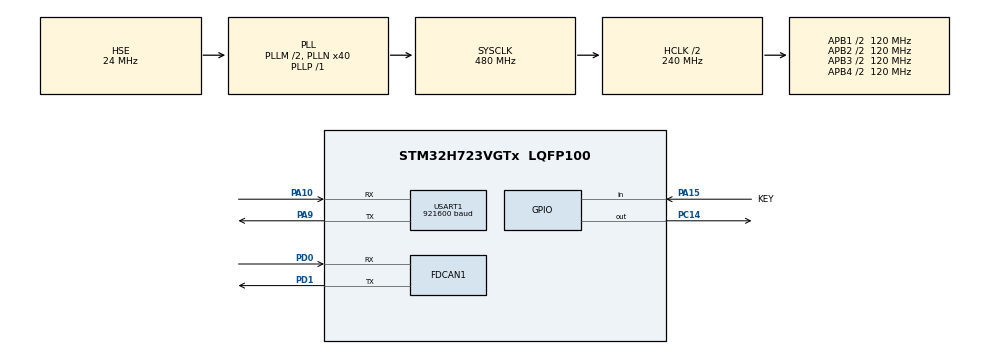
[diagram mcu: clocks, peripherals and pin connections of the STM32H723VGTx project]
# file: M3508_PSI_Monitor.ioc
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CORTEX_M7.CPU_DCache=Disabled
CORTEX_M7.CPU_ICache=Disabled
FDCAN1.AutoRetransmission=ENABLE
FDCAN1.CalculateBaudRateNominal=1000000
FDCAN1.CalculateTimeBitNominal=1000
FDCAN1.CalculateTimeQuantumNominal=12.5
FDCAN1.DataPrescaler=1
FDCAN1.DataSyncJumpWidth=2
FDCAN1.DataTimeSeg1=13
FDCAN1.DataTimeSeg2=2
FDCAN1.ExtFiltersNbr=4
FDCAN1.FrameFormat=FDCAN_FRAME_FD_BRS
FDCAN1.NominalPrescaler=1
FDCAN1.NominalSyncJumpWidth=20
FDCAN1.NominalTimeSeg1=59
FDCAN1.NominalTimeSeg2=20
FDCAN1.ProtocolException=ENABLE
FDCAN1.RxBufferSize=FDCAN_DATA_BYTES_8
FDCAN1.RxBuffersNbr=2
FDCAN1.RxFifo0ElmtSize=FDCAN_DATA_BYTES_8
FDCAN1.RxFifo0ElmtsNbr=10
FDCAN1.RxFifo1ElmtSize=FDCAN_DATA_BYTES_8
FDCAN1.RxFifo1ElmtsNbr=10
FDCAN1.StdFiltersNbr=4
FDCAN1.TxBuffersNbr=10
FDCAN1.TxElmtSize=FDCAN_DATA_BYTES_8
FDCAN1.TxEventsNbr=10
FDCAN1.TxFifoQueueElmtsNbr=10
Mcu.Family=STM32H7
Mcu.Name=STM32H723VGTx
Mcu.Package=LQFP100
NVIC.FDCAN1_IT0_IRQn=true\:0\:0\:false\:false\:true\:true\:true\:true
NVIC.FDCAN1_IT1_IRQn=true\:0\:0\:false\:false\:true\:true\:true\:true
NVIC.FDCAN_CAL_IRQn=true\:0\:0\:false\:false\:true\:true\:true\:true
NVIC.PriorityGroup=NVIC_PRIORITYGROUP_4
NVIC.TIM3_IRQn=true\:0\:0\:false\:false\:true\:true\:true\:true
NVIC.TIM4_IRQn=true\:0\:0\:false\:false\:true\:true\:true\:true
PA10.Mode=Asynchronous
PA10.Signal=USART1_RX
PA13(JTMS/SWDIO).Mode=Serial_Wire
PA13(JTMS/SWDIO).Signal=DEBUG_JTMS-SWDIO
PA14(JTCK/SWCLK).Mode=Serial_Wire
PA14(JTCK/SWCLK).Signal=DEBUG_JTCK-SWCLK
PA15(JTDI).GPIO_Label=KEY
PA15(JTDI).Signal=GPIO_Input
PA9.Mode=Asynchronous
PA9.Signal=USART1_TX
PC14-OSC32_IN.Signal=GPIO_Output
PD0.Mode=FDCAN_Activate
PD0.Signal=FDCAN1_RX
PD1.Mode=FDCAN_Activate
PD1.Signal=FDCAN1_TX
PH0-OSC_IN.Mode=HSE-External-Oscillator
PH0-OSC_IN.Signal=RCC_OSC_IN
PH1-OSC_OUT.Mode=HSE-External-Oscillator
PH1-OSC_OUT.Signal=RCC_OSC_OUT
ProjectManager.HeapSize=0x2000
ProjectManager.StackSize=0x400
ProjectManager.TargetToolchain=MDK-ARM V5.32
RCC.ADCFreq_Value=48375000
RCC.APB1Freq_Value=120000000
RCC.APB2Freq_Value=120000000
RCC.APB3Freq_Value=120000000
RCC.APB4Freq_Value=120000000
RCC.CortexFreq_Value=480000000
RCC.D1PPRE=RCC_APB3_DIV2
RCC.D2PPRE1=RCC_APB1_DIV2
RCC.D2PPRE2=RCC_APB2_DIV2
RCC.D3PPRE=RCC_APB4_DIV2
RCC.DIVM1=2
RCC.DIVN1=40
RCC.DIVP1=1
RCC.DIVQ1=6
RCC.HCLKFreq_Value=240000000
RCC.HPRE=RCC_HCLK_DIV2
RCC.HSE_VALUE=24000000
RCC.PLLFRACN=0
RCC.PLLSourceVirtual=RCC_PLLSOURCE_HSE
RCC.RCC_MCO1Source=RCC_MCO1SOURCE_HSE
RCC.SYSCLKFreq_VALUE=480000000
RCC.SYSCLKSource=RCC_SYSCLKSOURCE_PLLCLK
RCC.USBCLockSelection=RCC_USBCLKSOURCE_HSI48
RCC.USBFreq_Value=48000000
TIM3.Period=1000-1
TIM3.Prescaler=240-1
TIM4.Period=1000-1
TIM4.Prescaler=240-1
USART1.BaudRate=921600
USART1.VirtualMode-Asynchronous=VM_ASYNC
VP_TIM3_VS_ClockSourceINT.Mode=Internal
VP_TIM4_VS_ClockSourceINT.Mode=Internal
board=custom

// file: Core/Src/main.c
/* USER CODE BEGIN Header */
/**
 ******************************************************************************
 * @file           : main.c
 * @brief          : Main program body
 ******************************************************************************
 * @attention
 *
 * Copyright (c) 2024 STMicroelectronics.
 * All rights reserved.
 *
 * This software is licensed under terms that can be found in the LICENSE file
 * in the root directory of this software component.
 * If no LICENSE file comes with this software, it is provided AS-IS.
 *
 ******************************************************************************
 */
/* USER CODE END Header */
#include "main.h"
#include "fdcan.h"
#include "tim.h"
#include "usart.h"
#include "gpio.h"

/* USER CODE BEGIN Includes */
#include "bsp_fdcan.h"
#include "dm_motor_ctrl.h"
#include "keys.h"
#include <math.h> /* sinf */
/* USER CODE END Includes */

/* USER CODE BEGIN PV */
float pos_amp = 0.2f;          /* position command amplitude, rad */
float pos_freq = 1.0f;         /* position command frequency, Hz */
uint16_t crtl_mode = MIT_MODE; /* position control mode */
//uint16_t crtl_mode = POS_MODE;
/* USER CODE END PV */

void SystemClock_Config(void);

/* USER CODE BEGIN 0 */
void HAL_TIM_PeriodElapsedCallback(TIM_HandleTypeDef *htim)
{
    /* USER CODE BEGIN Callback 0 */
    if (htim->Instance == TIM3)
    {
        /* 电机控制状态：1=发送控制帧，0=发送失能帧 */
        static uint8_t ctrl_enable = 1;

        // read_all_motor_data(&motor[Motor1]);

        /* 按键触发切换：Key_Scan 在按下并释放后把 p->key_flag 置 1 */
        if (KEY0_Instance.key_flag == 1)
        {
            KEY0_Instance.key_flag = 0;
            ctrl_enable = !ctrl_enable;

            if (ctrl_enable)
            {
                dm_motor_enable(&hfdcan1, &motor[Motor1]);
            }
            else
            {
                if (crtl_mode == POS_MODE)
                {
                    disable_motor_mode(&hfdcan1, motor[Motor1].id,POS_MODE);
                }
                else
                {
                    disable_motor_mode(&hfdcan1, motor[Motor1].id,MIT_MODE);
                }

            }
        }

        //        if(ctrl_enable)
        //        {
        dm_motor_ctrl_send(&hfdcan1, &motor[Motor1]);
        //        }
    }

    // }
}
/* USER CODE END 0 */

int main(void)
{

    /* MCU Configuration--------------------------------------------------------*/

    /* Reset of all peripherals, Initializes the Flash interface and the Systick. */
    HAL_Init();

    /* Configure the system clock */
    SystemClock_Config();

    /* Initialize all configured peripherals */
    MX_GPIO_Init();
    MX_FDCAN1_Init();
    MX_TIM3_Init();
    MX_USART1_UART_Init();
    MX_TIM4_Init();
    /* USER CODE BEGIN 2 */
    power(1);
    HAL_Delay(1000);

    bsp_fdcan_set_baud(&hfdcan1, CAN_CLASS, CAN_BR_1M);

    bsp_can_init();
    dm_motor_init();
    if (crtl_mode == POS_MODE)
    {
        motor[Motor1].ctrl.mode = pos_mode;
        motor[Motor1].ctrl.vel_set 	= 2.2f;
    }
    else
    {
        motor[Motor1].ctrl.mode = mit_mode;
        motor[Motor1].ctrl.vel_set 	= 0.0f;
    }

    HAL_Delay(100);

    //	write_motor_data(motor[Motor1].id, 10, mit_mode, 0, 0, 0);
    //	HAL_Delay(100);
    //	write_motor_data(motor[Motor1].id, 35, CAN_BR_5M, 0, 0, 0);
    //	HAL_Delay(100);
    //	read_motor_data(motor[Motor1].id, RID_CAN_BR);
    //	dm_motor_disable(&hfdcan1, &motor[Motor1]);
    //	HAL_Delay(100);
    //	save_motor_data(motor[Motor1].id, 10);
    //	HAL_Delay(100);
    dm_motor_enable(&hfdcan1, &motor[Motor1]);
    // dm_motor_enable(&hfdcan1, &motor[Motor2]);
    /* MIT mode initial gains: small values, tune later */
    motor[Motor1].ctrl.kp_set = 10.0f;
    motor[Motor1].ctrl.kd_set = 0.08f;
    // motor[Motor2].ctrl.kp_set = 5.0f;
    // motor[Motor2].ctrl.kd_set = 0.1f;
    HAL_Delay(1000);
    HAL_TIM_Base_Start_IT(&htim3);
    //	read_all_motor_data(&motor[Motor1]);
    /* USER CODE END 2 */

    /* Infinite loop */
    while (1)
    {

        /* USER CODE BEGIN 3 */
        Key_Scan(&KEY0_Instance);

        /* Sine position trajectory: pos_set = A * sin(2*PI * f * t) */
        {
            float t = (float)HAL_GetTick() / 1000.0f; /* runtime seconds */
            motor[Motor1].ctrl.pos_set = pos_amp * sinf(2.0f * 3.14159265f * pos_freq * t);
        }
        HAL_Delay(10);
    }

    /* USER CODE END 3 */
}

void SystemClock_Config(void)
{
    RCC_OscInitTypeDef RCC_OscInitStruct = {0};
    RCC_ClkInitTypeDef RCC_ClkInitStruct = {0};

    /** Supply configuration update enable
     */
    HAL_PWREx_ConfigSupply(PWR_LDO_SUPPLY);

    /** Configure the main internal regulator output voltage
     */
    __HAL_PWR_VOLTAGESCALING_CONFIG(PWR_REGULATOR_VOLTAGE_SCALE0);

    while (!__HAL_PWR_GET_FLAG(PWR_FLAG_VOSRDY))
    {
    }

    /** Initializes the RCC Oscillators according to the specified parameters
     * in the RCC_OscInitTypeDef structure.
     */
    RCC_OscInitStruct.OscillatorType = RCC_OSCILLATORTYPE_HSE;
    RCC_OscInitStruct.HSEState = RCC_HSE_ON;
    RCC_OscInitStruct.PLL.PLLState = RCC_PLL_ON;
    RCC_OscInitStruct.PLL.PLLSource = RCC_PLLSOURCE_HSE;
    RCC_OscInitStruct.PLL.PLLM = 2;
    RCC_OscInitStruct.PLL.PLLN = 40;
    RCC_OscInitStruct.PLL.PLLP = 1;
    RCC_OscInitStruct.PLL.PLLQ = 6;
    RCC_OscInitStruct.PLL.PLLR = 2;
    RCC_OscInitStruct.PLL.PLLRGE = RCC_PLL1VCIRANGE_3;
    RCC_OscInitStruct.PLL.PLLVCOSEL = RCC_PLL1VCOWIDE;
    RCC_OscInitStruct.PLL.PLLFRACN = 0;

    if (HAL_RCC_OscConfig(&RCC_OscInitStruct) != HAL_OK)
    {
        Error_Handler();
    }

    /** Initializes the CPU, AHB and APB buses clocks
     */
    RCC_ClkInitStruct.ClockType = RCC_CLOCKTYPE_HCLK | RCC_CLOCKTYPE_SYSCLK | RCC_CLOCKTYPE_PCLK1 | RCC_CLOCKTYPE_PCLK2 | RCC_CLOCKTYPE_D3PCLK1 | RCC_CLOCKTYPE_D1PCLK1;
    RCC_ClkInitStruct.SYSCLKSource = RCC_SYSCLKSOURCE_PLLCLK;
    RCC_ClkInitStruct.SYSCLKDivider = RCC_SYSCLK_DIV1;
    RCC_ClkInitStruct.AHBCLKDivider = RCC_HCLK_DIV2;
    RCC_ClkInitStruct.APB3CLKDivider = RCC_APB3_DIV2;
    RCC_ClkInitStruct.APB1CLKDivider = RCC_APB1_DIV2;
    RCC_ClkInitStruct.APB2CLKDivider = RCC_APB2_DIV2;
    RCC_ClkInitStruct.APB4CLKDivider = RCC_APB4_DIV2;

    if (HAL_RCC_ClockConfig(&RCC_ClkInitStruct, FLASH_LATENCY_3) != HAL_OK)
    {
        Error_Handler();
    }
}

void Error_Handler(void)
{
    __disable_irq();
    while (1)
    {
    }
}
